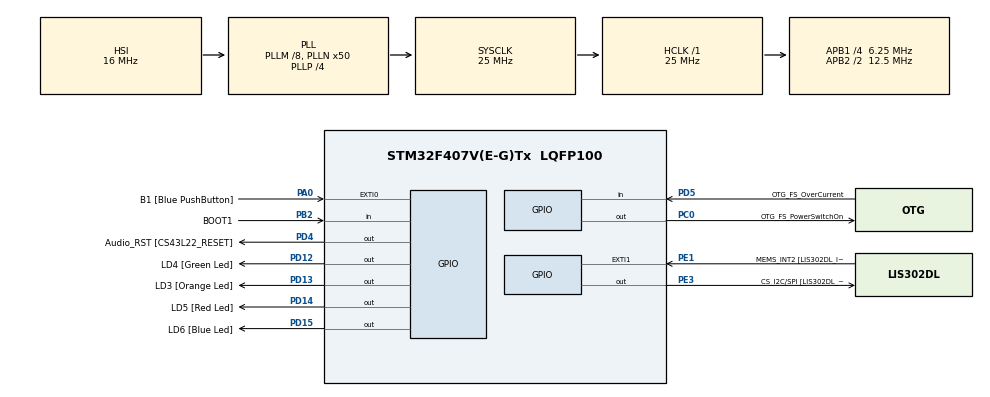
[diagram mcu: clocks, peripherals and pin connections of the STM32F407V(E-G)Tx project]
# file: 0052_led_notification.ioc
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Mcu.Family=STM32F4
Mcu.Name=STM32F407V(E-G)Tx
Mcu.Package=LQFP100
NVIC.PriorityGroup=NVIC_PRIORITYGROUP_4
NVIC.TIM6_DAC_IRQn=true\:0\:0\:false\:false\:true\:false\:true\:true
NVIC.TimeBase=TIM6_DAC_IRQn
NVIC.TimeBaseIP=TIM6
PA0-WKUP.GPIO_Label=B1 [Blue PushButton]
PA0-WKUP.Signal=GPXTI0
PA10.GPIO_Label=OTG_FS_ID
PA10.GPIO_Mode=GPIO_MODE_AF_PP
PA10.GPIO_PuPd=GPIO_NOPULL
PA10.GPIO_Speed=GPIO_SPEED_FREQ_LOW
PA10.Signal=USB_OTG_FS_ID
PA11.GPIO_Label=OTG_FS_DM
PA11.GPIO_Mode=GPIO_MODE_AF_PP
PA11.GPIO_PuPd=GPIO_NOPULL
PA11.GPIO_Speed=GPIO_SPEED_FREQ_LOW
PA11.Signal=USB_OTG_FS_DM
PA12.GPIO_Label=OTG_FS_DP
PA12.GPIO_Mode=GPIO_MODE_AF_PP
PA12.GPIO_PuPd=GPIO_NOPULL
PA12.GPIO_Speed=GPIO_SPEED_FREQ_LOW
PA12.Signal=USB_OTG_FS_DP
PA13.GPIO_Label=SWDIO
PA13.Signal=SYS_JTMS-SWDIO
PA14.GPIO_Label=SWCLK
PA14.Signal=SYS_JTCK-SWCLK
PA4.GPIO_Label=I2S3_WS [CS43L22_LRCK]
PA4.GPIO_Mode=GPIO_MODE_AF_PP
PA4.GPIO_PuPd=GPIO_NOPULL
PA4.GPIO_Speed=GPIO_SPEED_FREQ_LOW
PA4.Signal=I2S3_WS
PA5.GPIO_Label=SPI1_SCK [LIS302DL_SCL/SPC]
PA5.GPIO_Mode=GPIO_MODE_AF_PP
PA5.GPIO_PuPd=GPIO_NOPULL
PA5.GPIO_Speed=GPIO_SPEED_FREQ_LOW
PA5.Signal=SPI1_SCK
PA6.GPIO_Label=SPI1_MISO [LIS302DL_SDO]
PA6.GPIO_Mode=GPIO_MODE_AF_PP
PA6.GPIO_PuPd=GPIO_NOPULL
PA6.GPIO_Speed=GPIO_SPEED_FREQ_LOW
PA6.Signal=SPI1_MISO
PA7.GPIO_Label=SPI1_MOSI [LIS302DL_SDA/SDI/SDO]
PA7.GPIO_Mode=GPIO_MODE_AF_PP
PA7.GPIO_PuPd=GPIO_NOPULL
PA7.GPIO_Speed=GPIO_SPEED_FREQ_LOW
PA7.Signal=SPI1_MOSI
PA9.GPIO_Label=VBUS_FS
PA9.GPIO_Mode=GPIO_MODE_INPUT
PA9.GPIO_PuPd=GPIO_NOPULL
PA9.Signal=USB_OTG_FS_VBUS
PB10.GPIO_Label=CLK_IN [MP45DT02_CLK]
PB10.GPIO_Mode=GPIO_MODE_AF_PP
PB10.GPIO_PuPd=GPIO_NOPULL
PB10.GPIO_Speed=GPIO_SPEED_FREQ_LOW
PB10.Signal=I2S2_CK
PB2.GPIO_Label=BOOT1
PB2.GPIO_Mode=GPIO_MODE_INPUT
PB2.GPIO_PuPd=GPIO_NOPULL
PB2.Signal=GPIO_Input
PB3.GPIO_Label=SWO
PB3.Signal=SYS_JTDO-SWO
PB6.GPIO_Label=Audio_SCL [CS43L22_SCL]
PB6.GPIO_Mode=GPIO_MODE_AF_OD
PB6.GPIO_PuPd=GPIO_NOPULL
PB6.GPIO_Speed=GPIO_SPEED_FREQ_LOW
PB6.Signal=I2C1_SCL
PB9.GPIO_Label=Audio_SDA [CS43L22_SDA]
PB9.GPIO_Mode=GPIO_MODE_AF_OD
PB9.GPIO_PuPd=GPIO_NOPULL
PB9.GPIO_Speed=GPIO_SPEED_FREQ_LOW
PB9.Signal=I2C1_SDA
PC0.GPIO_Label=OTG_FS_PowerSwitchOn
PC0.GPIO_PuPd=GPIO_NOPULL
PC0.GPIO_Speed=GPIO_SPEED_FREQ_LOW
PC0.PinState=GPIO_PIN_SET
PC0.Signal=GPIO_Output
PC10.GPIO_Label=I2S3_SCK [CS43L22_SCLK]
PC10.GPIO_Mode=GPIO_MODE_AF_PP
PC10.GPIO_PuPd=GPIO_NOPULL
PC10.GPIO_Speed=GPIO_SPEED_FREQ_LOW
PC10.Signal=I2S3_CK
PC12.GPIO_Label=I2S3_SD [CS43L22_SDIN]
PC12.GPIO_Mode=GPIO_MODE_AF_PP
PC12.GPIO_PuPd=GPIO_NOPULL
PC12.GPIO_Speed=GPIO_SPEED_FREQ_LOW
PC12.Signal=I2S3_SD
PC14-OSC32_IN.GPIO_Label=PC14-OSC32_IN
PC14-OSC32_IN.Signal=RCC_OSC32_IN
PC15-OSC32_OUT.GPIO_Label=PC15-OSC32_OUT
PC15-OSC32_OUT.Signal=RCC_OSC32_OUT
PC3.GPIO_Label=PDM_OUT [MP45DT02_DOUT]
PC3.GPIO_Mode=GPIO_MODE_AF_PP
PC3.GPIO_PuPd=GPIO_NOPULL
PC3.GPIO_Speed=GPIO_SPEED_FREQ_LOW
PC3.Signal=I2S2_SD
PC7.GPIO_Label=I2S3_MCK [CS43L22_MCLK]
PC7.GPIO_Mode=GPIO_MODE_AF_PP
PC7.GPIO_PuPd=GPIO_NOPULL
PC7.GPIO_Speed=GPIO_SPEED_FREQ_LOW
PC7.Signal=I2S3_MCK
PD12.GPIO_Label=LD4 [Green Led]
PD12.GPIO_PuPd=GPIO_NOPULL
PD12.GPIO_Speed=GPIO_SPEED_FREQ_LOW
PD12.Signal=GPIO_Output
PD13.GPIO_Label=LD3 [Orange Led]
PD13.GPIO_PuPd=GPIO_NOPULL
PD13.GPIO_Speed=GPIO_SPEED_FREQ_LOW
PD13.Signal=GPIO_Output
PD14.GPIO_Label=LD5 [Red Led]
PD14.GPIO_PuPd=GPIO_NOPULL
PD14.GPIO_Speed=GPIO_SPEED_FREQ_LOW
PD14.Signal=GPIO_Output
PD15.GPIO_Label=LD6 [Blue Led]
PD15.GPIO_PuPd=GPIO_NOPULL
PD15.GPIO_Speed=GPIO_SPEED_FREQ_LOW
PD15.Signal=GPIO_Output
PD4.GPIO_Label=Audio_RST [CS43L22_RESET]
PD4.GPIO_PuPd=GPIO_NOPULL
PD4.GPIO_Speed=GPIO_SPEED_FREQ_LOW
PD4.Signal=GPIO_Output
PD5.GPIO_Label=OTG_FS_OverCurrent
PD5.GPIO_Mode=GPIO_MODE_INPUT
PD5.GPIO_PuPd=GPIO_NOPULL
PD5.Signal=GPIO_Input
PE1.GPIO_Label=MEMS_INT2 [LIS302DL_INT2]
PE1.GPIO_ModeDefaultEXTI=GPIO_MODE_EVT_RISING
PE1.GPIO_PuPd=GPIO_NOPULL
PE1.Signal=GPXTI1
PE3.GPIO_Label=CS_I2C/SPI [LIS302DL_CS_I2C/SPI]
PE3.GPIO_PuPd=GPIO_NOPULL
PE3.GPIO_Speed=GPIO_SPEED_FREQ_LOW
PE3.Signal=GPIO_Output
PH0-OSC_IN.GPIO_Label=PH0-OSC_IN
PH0-OSC_IN.Signal=RCC_OSC_IN
PH1-OSC_OUT.GPIO_Label=PH1-OSC_OUT
PH1-OSC_OUT.Signal=RCC_OSC_OUT
ProjectManager.HeapSize=0x200
ProjectManager.StackSize=0x400
ProjectManager.TargetToolchain=STM32CubeIDE
RCC.48MHZClocksFreq_Value=14285714.285714285
RCC.AHBFreq_Value=25000000
RCC.APB1CLKDivider=RCC_HCLK_DIV4
RCC.APB1Freq_Value=6250000
RCC.APB1TimFreq_Value=12500000
RCC.APB2CLKDivider=RCC_HCLK_DIV2
RCC.APB2Freq_Value=12500000
RCC.APB2TimFreq_Value=25000000
RCC.CortexFreq_Value=25000000
RCC.HCLKFreq_Value=25000000
RCC.HSE_VALUE=8000000
RCC.HSI_VALUE=16000000
RCC.LSE_VALUE=32768
RCC.PLLM=8
RCC.PLLN=50
RCC.PLLP=RCC_PLLP_DIV4
RCC.PLLQ=7
RCC.SYSCLKFreq_VALUE=25000000
RCC.SYSCLKSource=RCC_SYSCLKSOURCE_PLLCLK
RCC.VCOOutputFreq_Value=100000000
VP_SYS_VS_tim6.Mode=TIM6
board=STM32F407G-DISC1

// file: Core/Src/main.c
/* USER CODE BEGIN Header */
/**
  ******************************************************************************
  * @file           : main.c
  * @brief          : Main program body
  ******************************************************************************
  * @attention
  *
  * Copyright (c) 2025 STMicroelectronics.
  * All rights reserved.
  *
  * This software is licensed under terms that can be found in the LICENSE file
  * in the root directory of this software component.
  * If no LICENSE file comes with this software, it is provided AS-IS.
  *
  ******************************************************************************
  */
/* USER CODE END Header */
#include "main.h"

/* USER CODE BEGIN Includes */
#include<stdio.h>
#include<stdint.h>
#include"FreeRTOS.h"
#include"Task.h"

/* USER CODE END Includes */

/* USER CODE BEGIN PM */
#define DWT_CTRL (*(volatile uint32_t*)0xE0001000)
TaskHandle_t RED_HANDLE;
TaskHandle_t BLUE_HANDLE;
TaskHandle_t GREEN_HANDLE;
TaskHandle_t BUTTON_HANDLE;
TaskHandle_t TASK_SUSPEND;

TaskHandle_t volatile NEXT_HANDLE;

//static uint8_t NB=0;
uint8_t ALL_SUSPENDED=0;

static void RED_HANDLER(void*parameters);
static void BLUE_HANDLER(void*parameters);
static void GREEN_HANDLER(void*parameters);
static void BUTTON_HANDLER(void*parameters);
static void TASK_SUSPEND_HANDLER(void*parameters);

/* USER CODE END PM */

void SystemClock_Config(void);
static void MX_GPIO_Init(void);

int main(void)
{

  /* MCU Configuration--------------------------------------------------------*/

  /* Reset of all peripherals, Initializes the Flash interface and the Systick. */
  HAL_Init();

  /* Configure the system clock */
  SystemClock_Config();

  /* Initialize all configured peripherals */
  MX_GPIO_Init();
  /* USER CODE BEGIN 2 */
  DWT_CTRL |=(0<<1);
   SEGGER_SYSVIEW_Conf();
   SEGGER_SYSVIEW_Start();
   BaseType_t status;

  status= xTaskCreate(RED_HANDLER,"RED_LED_TOGGLE", 200,"NULL",3, &RED_HANDLE);
  configASSERT(status==pdPASS);
  status= xTaskCreate(BLUE_HANDLER,"BLUE_LED_TOGGLE", 200,"NULL",2, &BLUE_HANDLE);
  configASSERT(status==pdPASS);
  status= xTaskCreate(GREEN_HANDLER,"GREEN_LED_TOGGLE", 200,"NULL",1, &GREEN_HANDLE);
  configASSERT(status==pdPASS);
  status= xTaskCreate(BUTTON_HANDLER,"RED_LED_TOGGLE", 200,"NULL",4, &RED_HANDLE);
  configASSERT(status==pdPASS);
  status= xTaskCreate(TASK_SUSPEND_HANDLER,"SUSPEND_ALL", 200,"NULL",4, &TASK_SUSPEND);
    configASSERT(status==pdPASS);

  NEXT_HANDLE=RED_HANDLE;

  vTaskStartScheduler();
  /* USER CODE END 2 */

  /* Infinite loop */
  while (1)
  {

  }
}

void SystemClock_Config(void)
{
  RCC_OscInitTypeDef RCC_OscInitStruct = {0};
  RCC_ClkInitTypeDef RCC_ClkInitStruct = {0};

  /** Configure the main internal regulator output voltage
  */
  __HAL_RCC_PWR_CLK_ENABLE();
  __HAL_PWR_VOLTAGESCALING_CONFIG(PWR_REGULATOR_VOLTAGE_SCALE1);

  /** Initializes the RCC Oscillators according to the specified parameters
  * in the RCC_OscInitTypeDef structure.
  */
  RCC_OscInitStruct.OscillatorType = RCC_OSCILLATORTYPE_HSI;
  RCC_OscInitStruct.HSIState = RCC_HSI_ON;
  RCC_OscInitStruct.HSICalibrationValue = RCC_HSICALIBRATION_DEFAULT;
  RCC_OscInitStruct.PLL.PLLState = RCC_PLL_ON;
  RCC_OscInitStruct.PLL.PLLSource = RCC_PLLSOURCE_HSI;
  RCC_OscInitStruct.PLL.PLLM = 8;
  RCC_OscInitStruct.PLL.PLLN = 50;
  RCC_OscInitStruct.PLL.PLLP = RCC_PLLP_DIV4;
  RCC_OscInitStruct.PLL.PLLQ = 7;
  if (HAL_RCC_OscConfig(&RCC_OscInitStruct) != HAL_OK)
  {
    Error_Handler();
  }

  /** Initializes the CPU, AHB and APB buses clocks
  */
  RCC_ClkInitStruct.ClockType = RCC_CLOCKTYPE_HCLK|RCC_CLOCKTYPE_SYSCLK
                              |RCC_CLOCKTYPE_PCLK1|RCC_CLOCKTYPE_PCLK2;
  RCC_ClkInitStruct.SYSCLKSource = RCC_SYSCLKSOURCE_PLLCLK;
  RCC_ClkInitStruct.AHBCLKDivider = RCC_SYSCLK_DIV1;
  RCC_ClkInitStruct.APB1CLKDivider = RCC_HCLK_DIV4;
  RCC_ClkInitStruct.APB2CLKDivider = RCC_HCLK_DIV2;

  if (HAL_RCC_ClockConfig(&RCC_ClkInitStruct, FLASH_LATENCY_0) != HAL_OK)
  {
    Error_Handler();
  }
}

static void MX_GPIO_Init(void)
{
  GPIO_InitTypeDef GPIO_InitStruct = {0};

  /* GPIO Ports Clock Enable */
  __HAL_RCC_GPIOE_CLK_ENABLE();
  __HAL_RCC_GPIOC_CLK_ENABLE();
  __HAL_RCC_GPIOH_CLK_ENABLE();
  __HAL_RCC_GPIOA_CLK_ENABLE();
  __HAL_RCC_GPIOB_CLK_ENABLE();
  __HAL_RCC_GPIOD_CLK_ENABLE();

  /*Configure GPIO pin Output Level */
  HAL_GPIO_WritePin(CS_I2C_SPI_GPIO_Port, CS_I2C_SPI_Pin, GPIO_PIN_RESET);

  /*Configure GPIO pin Output Level */
  HAL_GPIO_WritePin(OTG_FS_PowerSwitchOn_GPIO_Port, OTG_FS_PowerSwitchOn_Pin, GPIO_PIN_SET);

  /*Configure GPIO pin Output Level */
  HAL_GPIO_WritePin(GPIOD, LD4_Pin|LD3_Pin|LD5_Pin|LD6_Pin
                          |Audio_RST_Pin, GPIO_PIN_RESET);

  /*Configure GPIO pin : CS_I2C_SPI_Pin */
  GPIO_InitStruct.Pin = CS_I2C_SPI_Pin;
  GPIO_InitStruct.Mode = GPIO_MODE_OUTPUT_PP;
  GPIO_InitStruct.Pull = GPIO_NOPULL;
  GPIO_InitStruct.Speed = GPIO_SPEED_FREQ_LOW;
  HAL_GPIO_Init(CS_I2C_SPI_GPIO_Port, &GPIO_InitStruct);

  /*Configure GPIO pin : OTG_FS_PowerSwitchOn_Pin */
  GPIO_InitStruct.Pin = OTG_FS_PowerSwitchOn_Pin;
  GPIO_InitStruct.Mode = GPIO_MODE_OUTPUT_PP;
  GPIO_InitStruct.Pull = GPIO_NOPULL;
  GPIO_InitStruct.Speed = GPIO_SPEED_FREQ_LOW;
  HAL_GPIO_Init(OTG_FS_PowerSwitchOn_GPIO_Port, &GPIO_InitStruct);

  /*Configure GPIO pin : PDM_OUT_Pin */
  GPIO_InitStruct.Pin = PDM_OUT_Pin;
  GPIO_InitStruct.Mode = GPIO_MODE_AF_PP;
  GPIO_InitStruct.Pull = GPIO_NOPULL;
  GPIO_InitStruct.Speed = GPIO_SPEED_FREQ_LOW;
  GPIO_InitStruct.Alternate = GPIO_AF5_SPI2;
  HAL_GPIO_Init(PDM_OUT_GPIO_Port, &GPIO_InitStruct);

  /*Configure GPIO pin : B1_Pin */
  GPIO_InitStruct.Pin = B1_Pin;
  GPIO_InitStruct.Mode = GPIO_MODE_IT_RISING;
  GPIO_InitStruct.Pull = GPIO_NOPULL;
  HAL_GPIO_Init(B1_GPIO_Port, &GPIO_InitStruct);

  /*Configure GPIO pin : I2S3_WS_Pin */
  GPIO_InitStruct.Pin = I2S3_WS_Pin;
  GPIO_InitStruct.Mode = GPIO_MODE_AF_PP;
  GPIO_InitStruct.Pull = GPIO_NOPULL;
  GPIO_InitStruct.Speed = GPIO_SPEED_FREQ_LOW;
  GPIO_InitStruct.Alternate = GPIO_AF6_SPI3;
  HAL_GPIO_Init(I2S3_WS_GPIO_Port, &GPIO_InitStruct);

  /*Configure GPIO pins : SPI1_SCK_Pin SPI1_MISO_Pin SPI1_MOSI_Pin */
  GPIO_InitStruct.Pin = SPI1_SCK_Pin|SPI1_MISO_Pin|SPI1_MOSI_Pin;
  GPIO_InitStruct.Mode = GPIO_MODE_AF_PP;
  GPIO_InitStruct.Pull = GPIO_NOPULL;
  GPIO_InitStruct.Speed = GPIO_SPEED_FREQ_LOW;
  GPIO_InitStruct.Alternate = GPIO_AF5_SPI1;
  HAL_GPIO_Init(GPIOA, &GPIO_InitStruct);

  /*Configure GPIO pin : BOOT1_Pin */
  GPIO_InitStruct.Pin = BOOT1_Pin;
  GPIO_InitStruct.Mode = GPIO_MODE_INPUT;
  GPIO_InitStruct.Pull = GPIO_NOPULL;
  HAL_GPIO_Init(BOOT1_GPIO_Port, &GPIO_InitStruct);

  /*Configure GPIO pin : CLK_IN_Pin */
  GPIO_InitStruct.Pin = CLK_IN_Pin;
  GPIO_InitStruct.Mode = GPIO_MODE_AF_PP;
  GPIO_InitStruct.Pull = GPIO_NOPULL;
  GPIO_InitStruct.Speed = GPIO_SPEED_FREQ_LOW;
  GPIO_InitStruct.Alternate = GPIO_AF5_SPI2;
  HAL_GPIO_Init(CLK_IN_GPIO_Port, &GPIO_InitStruct);

  /*Configure GPIO pins : LD4_Pin LD3_Pin LD5_Pin LD6_Pin
                           Audio_RST_Pin */
  GPIO_InitStruct.Pin = LD4_Pin|LD3_Pin|LD5_Pin|LD6_Pin
                          |Audio_RST_Pin;
  GPIO_InitStruct.Mode = GPIO_MODE_OUTPUT_PP;
  GPIO_InitStruct.Pull = GPIO_NOPULL;
  GPIO_InitStruct.Speed = GPIO_SPEED_FREQ_LOW;
  HAL_GPIO_Init(GPIOD, &GPIO_InitStruct);

  /*Configure GPIO pins : I2S3_MCK_Pin I2S3_SCK_Pin I2S3_SD_Pin */
  GPIO_InitStruct.Pin = I2S3_MCK_Pin|I2S3_SCK_Pin|I2S3_SD_Pin;
  GPIO_InitStruct.Mode = GPIO_MODE_AF_PP;
  GPIO_InitStruct.Pull = GPIO_NOPULL;
  GPIO_InitStruct.Speed = GPIO_SPEED_FREQ_LOW;
  GPIO_InitStruct.Alternate = GPIO_AF6_SPI3;
  HAL_GPIO_Init(GPIOC, &GPIO_InitStruct);

  /*Configure GPIO pin : VBUS_FS_Pin */
  GPIO_InitStruct.Pin = VBUS_FS_Pin;
  GPIO_InitStruct.Mode = GPIO_MODE_INPUT;
  GPIO_InitStruct.Pull = GPIO_NOPULL;
  HAL_GPIO_Init(VBUS_FS_GPIO_Port, &GPIO_InitStruct);

  /*Configure GPIO pins : OTG_FS_ID_Pin OTG_FS_DM_Pin OTG_FS_DP_Pin */
  GPIO_InitStruct.Pin = OTG_FS_ID_Pin|OTG_FS_DM_Pin|OTG_FS_DP_Pin;
  GPIO_InitStruct.Mode = GPIO_MODE_AF_PP;
  GPIO_InitStruct.Pull = GPIO_NOPULL;
  GPIO_InitStruct.Speed = GPIO_SPEED_FREQ_LOW;
  GPIO_InitStruct.Alternate = GPIO_AF10_OTG_FS;
  HAL_GPIO_Init(GPIOA, &GPIO_InitStruct);

  /*Configure GPIO pin : OTG_FS_OverCurrent_Pin */
  GPIO_InitStruct.Pin = OTG_FS_OverCurrent_Pin;
  GPIO_InitStruct.Mode = GPIO_MODE_INPUT;
  GPIO_InitStruct.Pull = GPIO_NOPULL;
  HAL_GPIO_Init(OTG_FS_OverCurrent_GPIO_Port, &GPIO_InitStruct);

  /*Configure GPIO pins : Audio_SCL_Pin Audio_SDA_Pin */
  GPIO_InitStruct.Pin = Audio_SCL_Pin|Audio_SDA_Pin;
  GPIO_InitStruct.Mode = GPIO_MODE_AF_OD;
  GPIO_InitStruct.Pull = GPIO_NOPULL;
  GPIO_InitStruct.Speed = GPIO_SPEED_FREQ_LOW;
  GPIO_InitStruct.Alternate = GPIO_AF4_I2C1;
  HAL_GPIO_Init(GPIOB, &GPIO_InitStruct);

  /*Configure GPIO pin : MEMS_INT2_Pin */
  GPIO_InitStruct.Pin = MEMS_INT2_Pin;
  GPIO_InitStruct.Mode = GPIO_MODE_EVT_RISING;
  GPIO_InitStruct.Pull = GPIO_NOPULL;
  HAL_GPIO_Init(MEMS_INT2_GPIO_Port, &GPIO_InitStruct);

}

/* USER CODE BEGIN 4 */
static void RED_HANDLER(void*parameters){
	BaseType_t status;
	//static uint8_t NB=0;
	while(1){
        SEGGER_SYSVIEW_PrintfTarget("TOGGLING LAAL LED");
		HAL_GPIO_TogglePin(GPIOD,GPIO_PIN_13 );
		//vTaskDelay(pdMS_TO_TICKS(1000));
		status=xTaskNotifyWait(0,0,NULL,pdMS_TO_TICKS(1100));
		if (status==pdTRUE){

			vTaskSuspendAll();
			//PREV_HANDLE=RED_HANDLE;
			NEXT_HANDLE=BLUE_HANDLE;
			xTaskResumeAll();
			HAL_GPIO_WritePin(GPIOD, GPIO_PIN_13, GPIO_PIN_SET);
			//vTaskResume(BLUE_HANDLE);
			vTaskSuspend(NULL);
			/*if(NB%2==0){
			HAL_GPIO_WritePin(GPIOD, GPIO_PIN_13, SET);
			 SEGGER_SYSVIEW_PrintfTarget("SUSPENDING LAAL LED");
			vTaskSuspend(RED_HANDLE);
			NB++;
			}
			else{
				 SEGGER_SYSVIEW_PrintfTarget("RESUMING LAAL LED");
				vTaskResume(RED_HANDLE);
				NB++;
			}*/

		}

	}
}
static void BLUE_HANDLER(void*parameters){
	BaseType_t status;
		//static uint8_t NB=0;
		while(1){
	        SEGGER_SYSVIEW_PrintfTarget("TOGGLING NEELI LED");
			HAL_GPIO_TogglePin(GPIOD,GPIO_PIN_14 );
			//vTaskDelay(pdMS_TO_TICKS());
			status=xTaskNotifyWait(0,0,NULL,pdMS_TO_TICKS(600));
			if (status==pdTRUE){

				vTaskSuspendAll();
				//PREV_HANDLE=BLUE_HANDLE;
				NEXT_HANDLE=GREEN_HANDLE;
				xTaskResumeAll();
				HAL_GPIO_WritePin(GPIOD, GPIO_PIN_14, GPIO_PIN_SET);
				//vTaskResume(GREEN_HANDLE);
				vTaskSuspend(NULL);
				/*if(NB%2==0){
				HAL_GPIO_WritePin(GPIOD, GPIO_PIN_14, SET);
				 SEGGER_SYSVIEW_PrintfTarget("SUSPENDING NEELI LED");
				vTaskSuspend(BLUE_HANDLE);
				}
				else{
					 SEGGER_SYSVIEW_PrintfTarget("RESUMING NEELI LED");
					vTaskResume(BLUE_HANDLE);
				}
				NB++;*/

			}

		}
}
static void GREEN_HANDLER(void*parameters){
	BaseType_t status;
		//static uint8_t NB=0;
		while(1){
	        SEGGER_SYSVIEW_PrintfTarget("TOGGLING HARI LED");
			HAL_GPIO_TogglePin(GPIOD,GPIO_PIN_12 );
			//vTaskDelay(pdMS_TO_TICKS(400));
			status=xTaskNotifyWait(0,0,NULL,pdMS_TO_TICKS(400));
			if (status==pdTRUE){

				vTaskSuspendAll();
				//PREV_HANDLE=GREEN_HANDLE;
				NEXT_HANDLE=TASK_SUSPEND;
				xTaskResumeAll();
				HAL_GPIO_WritePin(GPIOD, GPIO_PIN_12, GPIO_PIN_SET);
				vTaskSuspend(NULL);
				//ALL_SUSPENDED=1;

			/*	if(NB%2==0){
				HAL_GPIO_WritePin(GPIOD, GPIO_PIN_12, SET);
				 SEGGER_SYSVIEW_PrintfTarget("SUSPENDING HARA LED");
				vTaskSuspend(GREEN_HANDLE);
				}
				else{
					 SEGGER_SYSVIEW_PrintfTarget("RESUMING HARI LED");
					vTaskResume(GREEN_HANDLE);
				}
				NB++; */

			}

		}
}
static void TASK_SUSPEND_HANDLER(void*parameters){
	BaseType_t status;

		while(1){
	        SEGGER_SYSVIEW_PrintfTarget("RESUMING ALL TASK");
			HAL_GPIO_TogglePin(GPIOD,GPIO_PIN_12 );

			status=xTaskNotifyWait(0,0,NULL,pdMS_TO_TICKS(10));
			if (status==pdTRUE){

				vTaskResume(RED_HANDLE);
				vTaskResume(BLUE_HANDLE);
				vTaskResume(GREEN_HANDLE);
				vTaskSuspendAll();
				NEXT_HANDLE=RED_HANDLE;
				xTaskResumeAll();
			}

		}
}

static void BUTTON_HANDLER(void*parameters){
	uint8_t PREV_STATE=0;
	uint8_t CURRENT_STATE=0;

	while(1){
		CURRENT_STATE=HAL_GPIO_ReadPin(GPIOA, GPIO_PIN_0);
		if(CURRENT_STATE){
			if (!PREV_STATE){
            xTaskNotify(NEXT_HANDLE,0,eNoAction);
            if (ALL_SUSPENDED==1){
            	vTaskResume(NEXT_HANDLE);
            	ALL_SUSPENDED=0;
            }
          /* if (NB%2==0){
        	   SEGGER_SYSVIEW_PrintfTarget("SUSPENDING LED TASK");
        	   				vTaskSuspend(PREV_HANDLE);

           }
           if(NB%2==1){
        	   SEGGER_SYSVIEW_PrintfTarget("RESUMING LED TASK");

        	           	   		vTaskResume(NEXT_HANDLE);

           }*/

			}

		}
		PREV_STATE=CURRENT_STATE;
		 vTaskDelay(pdMS_TO_TICKS(10));

	}
}

/* USER CODE END 4 */

void HAL_TIM_PeriodElapsedCallback(TIM_HandleTypeDef *htim)
{
  if (htim->Instance == TIM6) {
    HAL_IncTick();
  }
}

void Error_Handler(void)
{
  __disable_irq();
  while (1)
  {
  }
}
